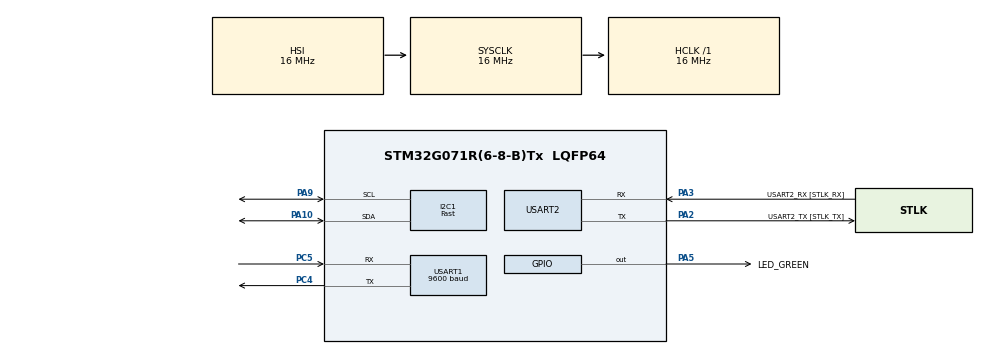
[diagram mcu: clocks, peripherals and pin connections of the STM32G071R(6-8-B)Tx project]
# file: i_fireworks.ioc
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Dma.I2C1_TX.0.Direction=DMA_MEMORY_TO_PERIPH
Dma.I2C1_TX.0.EventEnable=DISABLE
Dma.I2C1_TX.0.Instance=DMA1_Channel1
Dma.I2C1_TX.0.MemDataAlignment=DMA_MDATAALIGN_BYTE
Dma.I2C1_TX.0.MemInc=DMA_MINC_ENABLE
Dma.I2C1_TX.0.Mode=DMA_NORMAL
Dma.I2C1_TX.0.PeriphDataAlignment=DMA_PDATAALIGN_BYTE
Dma.I2C1_TX.0.PeriphInc=DMA_PINC_DISABLE
Dma.I2C1_TX.0.Polarity=HAL_DMAMUX_REQ_GEN_RISING
Dma.I2C1_TX.0.Priority=DMA_PRIORITY_LOW
Dma.I2C1_TX.0.RequestNumber=1
Dma.I2C1_TX.0.SignalID=NONE
Dma.I2C1_TX.0.SyncEnable=DISABLE
Dma.I2C1_TX.0.SyncPolarity=HAL_DMAMUX_SYNC_NO_EVENT
Dma.I2C1_TX.0.SyncRequestNumber=1
Dma.I2C1_TX.0.SyncSignalID=NONE
Dma.Request0=I2C1_TX
I2C1.I2C_Speed_Mode=I2C_Fast
I2C1.Timing=0x0010061A
Mcu.Family=STM32G0
Mcu.Name=STM32G071R(6-8-B)Tx
Mcu.Package=LQFP64
NVIC.DMA1_Channel1_IRQn=true\:0\:0\:false\:false\:true\:false\:true
NVIC.I2C1_IRQn=true\:0\:0\:false\:false\:true\:true\:true
NVIC.USART1_IRQn=true\:0\:0\:false\:false\:true\:true\:true
PA10.GPIO_PuPdOD=GPIO_NOPULL
PA10.Mode=I2C
PA10.Signal=I2C1_SDA
PA13.GPIO_Label=TMS
PA13.Mode=Serial_Wire
PA13.Signal=SYS_SWDIO
PA14-BOOT0.GPIO_Label=TCK
PA14-BOOT0.Mode=Serial_Wire
PA14-BOOT0.Signal=SYS_SWCLK
PA2.GPIO_Label=USART2_TX [STLK_TX]
PA2.GPIO_PuPd=GPIO_PULLUP
PA2.Mode=Asynchronous
PA2.Signal=USART2_TX
PA3.GPIO_Label=USART2_RX [STLK_RX]
PA3.GPIO_PuPd=GPIO_PULLUP
PA3.Mode=Asynchronous
PA3.Signal=USART2_RX
PA5.GPIO_Label=LED_GREEN
PA5.GPIO_Speed=GPIO_SPEED_FREQ_HIGH
PA5.Signal=GPIO_Output
PA9.GPIO_PuPdOD=GPIO_NOPULL
PA9.Mode=I2C
PA9.Signal=I2C1_SCL
PC13.Mode=SYS_WakeUp1
PC13.Signal=SYS_WKUP2
PC14-OSC32_IN\ (PC14).Mode=LSE-External-Oscillator
PC14-OSC32_IN\ (PC14).Signal=RCC_OSC32_IN
PC15-OSC32_OUT\ (PC15).Mode=LSE-External-Oscillator
PC15-OSC32_OUT\ (PC15).Signal=RCC_OSC32_OUT
PC4.Mode=Asynchronous
PC4.Signal=USART1_TX
PC5.Mode=Asynchronous
PC5.Signal=USART1_RX
PF0-OSC_IN\ (PF0).GPIO_Label=MCO
PF0-OSC_IN\ (PF0).Mode=HSE-External-Clock-Source
PF0-OSC_IN\ (PF0).Signal=RCC_OSC_IN
ProjectManager.HeapSize=0x200
ProjectManager.StackSize=0x400
ProjectManager.TargetToolchain=STM32CubeIDE
RCC.AHBFreq_Value=16000000
RCC.CortexFreq_Value=16000000
RCC.EXTERNAL_CLOCK_VALUE=12288000
RCC.HCLKFreq_Value=16000000
RCC.HSE_VALUE=32000000
RCC.HSI_VALUE=16000000
RCC.SYSCLKFreq_VALUE=16000000
RCC.VCOOutputFreq_Value=128000000
USART1.BaudRate=9600
USART1.MSBFirstParam=ADVFEATURE_MSBFIRST_DISABLE
USART1.Parity=PARITY_NONE
USART1.VirtualMode-Asynchronous=VM_ASYNC
USART1.WordLength=WORDLENGTH_8B
USART2.VirtualMode-Asynchronous=VM_ASYNC
VP_SYS_VS_DBSignals.Mode=DisableDeadBatterySignals
board=NUCLEO-G071RB

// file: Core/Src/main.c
/* USER CODE BEGIN Header */
/**
  ******************************************************************************
  * @file           : main.c
  * @brief          : Main program body
  ******************************************************************************
  * @attention
  *
  * <h2><center>&copy; Copyright (c) 2020 STMicroelectronics.
  * All rights reserved.</center></h2>
  *
  * This software component is licensed by ST under BSD 3-Clause license,
  * the "License"; You may not use this file except in compliance with the
  * License. You may obtain a copy of the License at:
  *                        opensource.org/licenses/BSD-3-Clause
  *
  ******************************************************************************
  */
/* USER CODE END Header */
#include "main.h"
#include "dma.h"
#include "i2c.h"
#include "usart.h"
#include "gpio.h"

/* USER CODE BEGIN Includes */
#include "GFX.h"
/* USER CODE END Includes */

/* USER CODE BEGIN PV */
uint8_t znak = 0, odpowiedz[20];
uint8_t valReceived = 0, x = 0,y = 0,color = WHITE, checksum = 0;
uint8_t brush;
uint16_t dlKom;
/* USER CODE END PV */

void SystemClock_Config(void);

int main(void)
{

  /* MCU Configuration--------------------------------------------------------*/

  /* Reset of all peripherals, Initializes the Flash interface and the Systick. */
  HAL_Init();

  /* Configure the system clock */
  SystemClock_Config();

  /* Initialize all configured peripherals */
  MX_GPIO_Init();
  MX_DMA_Init();
  MX_USART2_UART_Init();
  MX_USART1_UART_Init();
  MX_I2C1_Init();
  /* USER CODE BEGIN 2 */

  SSD1306_init();
//  GFX_draw_string(5, 10, (unsigned char *)"***** ***", WHITE, BLACK, 1.9, 1.9);
//  SSD1306_start_scroll_left(0, 15);
  SSD1306_display_repaint();
  HAL_UART_Receive_IT(&huart1, &valReceived,1);
  /* USER CODE END 2 */

  /* Infinite loop */
  while (1)
  {

  }
}

void SystemClock_Config(void)
{
  RCC_OscInitTypeDef RCC_OscInitStruct = {0};
  RCC_ClkInitTypeDef RCC_ClkInitStruct = {0};
  RCC_PeriphCLKInitTypeDef PeriphClkInit = {0};

  /** Configure the main internal regulator output voltage
  */
  HAL_PWREx_ControlVoltageScaling(PWR_REGULATOR_VOLTAGE_SCALE1);
  /** Initializes the RCC Oscillators according to the specified parameters
  * in the RCC_OscInitTypeDef structure.
  */
  RCC_OscInitStruct.OscillatorType = RCC_OSCILLATORTYPE_HSI;
  RCC_OscInitStruct.HSIState = RCC_HSI_ON;
  RCC_OscInitStruct.HSIDiv = RCC_HSI_DIV1;
  RCC_OscInitStruct.HSICalibrationValue = RCC_HSICALIBRATION_DEFAULT;
  RCC_OscInitStruct.PLL.PLLState = RCC_PLL_NONE;
  if (HAL_RCC_OscConfig(&RCC_OscInitStruct) != HAL_OK)
  {
    Error_Handler();
  }
  /** Initializes the CPU, AHB and APB buses clocks
  */
  RCC_ClkInitStruct.ClockType = RCC_CLOCKTYPE_HCLK|RCC_CLOCKTYPE_SYSCLK
                              |RCC_CLOCKTYPE_PCLK1;
  RCC_ClkInitStruct.SYSCLKSource = RCC_SYSCLKSOURCE_HSI;
  RCC_ClkInitStruct.AHBCLKDivider = RCC_SYSCLK_DIV1;
  RCC_ClkInitStruct.APB1CLKDivider = RCC_HCLK_DIV1;

  if (HAL_RCC_ClockConfig(&RCC_ClkInitStruct, FLASH_LATENCY_0) != HAL_OK)
  {
    Error_Handler();
  }
  /** Initializes the peripherals clocks
  */
  PeriphClkInit.PeriphClockSelection = RCC_PERIPHCLK_USART1|RCC_PERIPHCLK_USART2
                              |RCC_PERIPHCLK_I2C1;
  PeriphClkInit.Usart1ClockSelection = RCC_USART1CLKSOURCE_PCLK1;
  PeriphClkInit.Usart2ClockSelection = RCC_USART2CLKSOURCE_PCLK1;
  PeriphClkInit.I2c1ClockSelection = RCC_I2C1CLKSOURCE_PCLK1;
  if (HAL_RCCEx_PeriphCLKConfig(&PeriphClkInit) != HAL_OK)
  {
    Error_Handler();
  }
}

/* USER CODE BEGIN 4 */
int getRandom(int lower, int upper) {

        return (rand() % (upper - lower + 1)) + lower;

}

void HAL_UART_RxCpltCallback(UART_HandleTypeDef *huart){
	if(huart->Instance == USART1){
		if(znak=='x'){
			x=valReceived;
//			dlKom =sprintf(odpowiedz, "DIODA OFF-&"); //"-&" insights end of the message, we look for it in an android app
//			  GFX_draw_string(5, 10, (unsigned char *)"D", WHITE, BLACK, 1.9, 1.9);
//			  SSD1306_display_repaint();

			znak = 0;
		}else if(znak == 'y'){
			y=SSD1306_HEIGHT - valReceived;
//			HAL_GPIO_WritePin(LED_GREEN_GPIO_Port,LED_GREEN_Pin, GPIO_PIN_SET);
//			dlKom =sprintf(odpowiedz, "DIODA ON-&");
			znak = 0;
		}else if(znak == 'c'){
			color = valReceived;
			znak = 0;
		}
		else if(znak == 's'){
			//checksum
			checksum = valReceived;
//			  SSD1306_display_repaint();

			if(checksum == x+SSD1306_HEIGHT-y){
//				HAL_GPIO_WritePin(LED_GREEN_GPIO_Port,LED_GREEN_Pin, GPIO_PIN_RESET);
				//add to matrix and redraw
//				  GFX_draw_string(5, 10, (unsigned char)x, WHITE, BLACK, 1.9, 1.9);
//				  GFX_draw_string(15, 10, (unsigned char)y, WHITE, BLACK, 1.9, 1.9);

//				SSD1306_draw_pixel(getRandom(0, 127),getRandom(0, 31), WHITE);
				SSD1306_draw_pixel(x,y, color);
				SSD1306_display_repaint();

			}
			znak = 0;
		}
		else if(znak == 1){
			//draw
			color=WHITE;
			znak = 0;

		}else if(znak == 2){
			//erase
			color=BLACK;
			znak = 0;

		}else if(znak==10){
			SSD1306_display_clear();
			SSD1306_display_repaint();
			znak = 0;
		}
		else{
			HAL_UART_Receive_IT(&huart1, &znak,1);

			return;
		}
		HAL_UART_Receive_IT(&huart1, &valReceived,1);
//		HAL_UART_Transmit_IT(&huart1, odpowiedz, dlKom);
	}
}

/* USER CODE END 4 */

void Error_Handler(void)
{
  __disable_irq();
  while (1)
  {
  }
}

/************************ (C) COPYRIGHT STMicroelectronics *****END OF FILE****/
